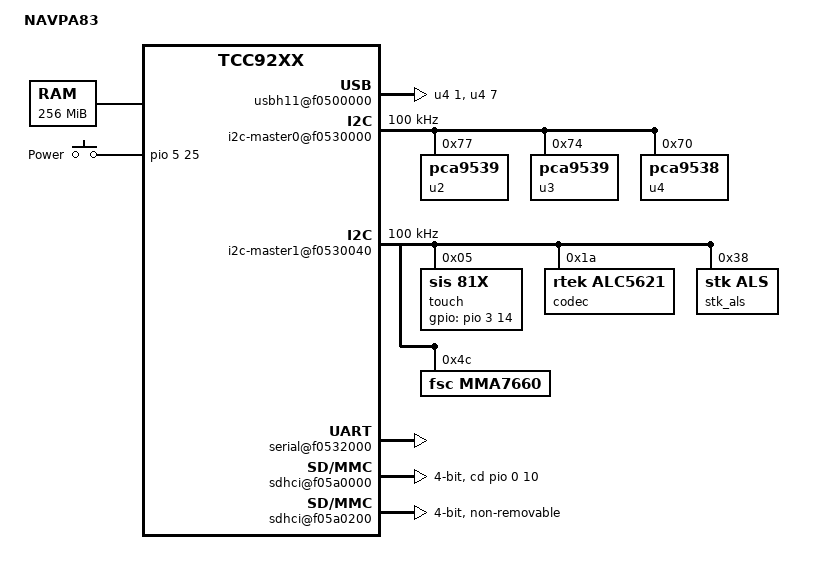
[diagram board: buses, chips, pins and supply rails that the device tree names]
/dts-v1/;

/include/ "tcc92xx.dtsi"

/ {
        model = "NAVPA83";
        compatible = "arrival,navpa83", "tcc,tcc92xx";

	chosen {
		linux,stdout-path = &uart0;
		bootargs = "mem=256M console=ttyS0,115200n8 fbcon=rotate:3 console=tty1 debug clk_ignore_unused no_console_suspend";
	};

        memory {
                device_type = "memory";
                reg = <0x40000000 0x10000000>; /* 256MB */
        };

	smu_pmu {
		pinctrl@f0102000 {
			tcc,eint0-gpio = <&pio 3 14 0>; /* touch */
			tcc,eint1-gpio = <&pio 0 10 0>; /* mmc0cd */
			tcc,eint2-gpio = <&pio 5 25 0>;	/* power button */
	
			sdhcip1: sdhci_port1@0 {
				tcc,pins = "PF18", "PF19", "PF20", "PF21", "PF22";
				tcc,function = "sd1";
			};
			sdhci1clk: sdhci_port1_clk@0 {
				tcc,pins = "PF23";
				tcc,function = "sd1";
				tcc,drive = <3>;
			};
			sdhcip4: sdhci_port4@0 {
				tcc,pins = "PE8", "PE9", "PE10", "PE11", "PE7";
				tcc,function = "sd4";
			};
			sdhci4clk: sdhci_port4_clk@0 {
				tcc,pins = "PE6";
				tcc,function = "sd4";
				tcc,drive = <3>;
			};
		};

		pmu@f0404000 {
			tcc,power-gpio = <&pio 0 2 0>; /* GPA2 */
		};
	};

        iobus {
		usbh11@f0500000 {
			gpios = <&u4 1 0>, <&u4 7 0>;
			status = "okay";
		};

		i2c-master0@f0530000 {
			clock-frequency = <100000>;
			#address-cells = <1>;
			#size-cells = <0>;
			status = "okay";

			u2: pca@77 {
				compatible = "pca9539";
				reg = <0x77>;
				gpio-controller;
				#gpio-cells = <2>;
			};
			u3: pca@74 {
				compatible = "pca9539";
				reg = <0x74>;
				gpio-controller;
				#gpio-cells = <2>;
			};
			u4: pca@70 {
				compatible = "pca9538";
				reg = <0x70>;
				gpio-controller;
				#gpio-cells = <2>;
			};
		};
		i2c-master1@f0530040 {
			clock-frequency = <100000>;
			#address-cells = <1>;
			#size-cells = <0>;
			status = "okay";

			touch@5 {
				compatible = "sis,81x";
				reg = <0x5>;
				interrupts = <3 0x4>; /* EINT0 */
				gpios = <&pio 3 14 0>;
			};
			codec@1a {
				compatible = "rtek,alc5621";
				reg = <0x1a>;
			};
			stk_als@38 {
				compatible = "stk,als";
				reg = <0x38>;
			};
			mma7660@4c {
				compatible = "fsc,mma7660";
				reg = <0x4c>;
			};
                };

                serial@f0532000 {
			clock-frequency = <48000000>;
                        status = "okay";
                };

		sdhci@f05a0000 {
			pinctrl-names = "default";
			pinctrl-0 = <&sdhcip4>, <&sdhci4clk>;
			/* tcc,power-gpios = <&pio 5 24 0>; */
			cd-gpios = <&pio 0 10 0>;
			bus-width = <4>;
			tcc,port = <4>;
			status = "okay";
		};
		sdhci@f05a0200 {
			pinctrl-names = "default";
			pinctrl-0 = <&sdhcip1>, <&sdhci1clk>;
			/* tcc,power-gpios = <&pio 3 18 0>; */
                        non-removable;
                        bus-width = <4>;
			tcc,port = <1>;
			status = "okay";
		};

		nfc@f05b0000 {
			nand-bus-width = <8>;
			nand-ecc-mode = "none";
		};
	};

	gpio-keys@0 {
		compatible = "gpio-keys";

		power {
			label = "Power";
			gpios = <&pio 5 25 0>;	/* F25 */
			linux,code = <116>;	/* KEY_POWER */
			gpio-key,wakeup;
		};
	};
};
